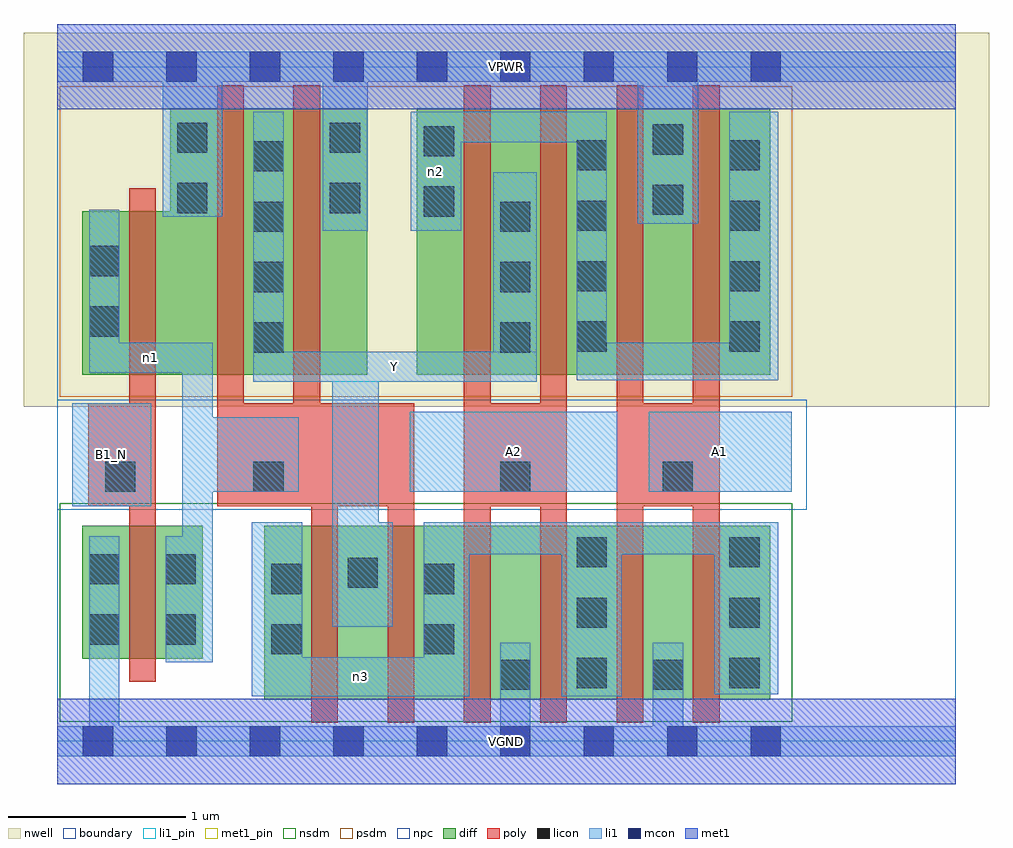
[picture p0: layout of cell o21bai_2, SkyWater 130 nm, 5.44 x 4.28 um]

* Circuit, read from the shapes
.subckt o21bai_2 A1 A2 B1_N VGND VPWR Y n1 n2 n3
XM1 n1 B1_N VGND VSUBS sky130_fd_pr__nfet_01v8 w=0.75 l=0.15
XM2 Y n1 n3 VSUBS sky130_fd_pr__nfet_01v8 w=0.98 l=0.15 m=2
XM3 VGND A2 n3 VSUBS sky130_fd_pr__nfet_01v8 w=0.98 l=0.15 m=2
XM4 VGND A1 n3 VSUBS sky130_fd_pr__nfet_01v8 w=0.98 l=0.15 m=2
XM5 VPWR B1_N n1 n4 sky130_fd_pr__pfet_01v8 w=0.92 l=0.15
XM6 Y n1 VPWR n4 sky130_fd_pr__pfet_01v8 w=1.5 l=0.15 m=2
XM7 Y A2 n2 n4 sky130_fd_pr__pfet_01v8 w=1.5 l=0.15 m=2
XM8 VPWR A1 n2 n4 sky130_fd_pr__pfet_01v8 w=1.5 l=0.15 m=2
.ends

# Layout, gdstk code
import gdstk
lib = gdstk.Library(unit=1e-6, precision=1e-09)
def R(c, l, rs):  # rectangles x0, y0, x1, y1
    for r in rs: c.add(gdstk.rectangle(r[:2], r[2:], *l))
def A(c, l, x, y, w, h, nx, ny, dx, dy):  # array of equal rectangles
    R(c, l, [(x+i*dx, y+j*dy, x+i*dx+w, y+j*dy+h) for i in range(nx) for j in range(ny)])
nwell = (64, 20)
diff = (65, 20)
poly = (66, 20)
licon = (66, 44)
li1_pin = (67, 16)
li1 = (67, 20)
mcon = (67, 44)
met1_pin = (68, 16)
met1 = (68, 20)
nsdm = (93, 44)
psdm = (94, 20)
npc = (95, 20)
boundary = (235, 4)

o21bai_2 = lib.new_cell('o21bai_2')
R(o21bai_2, nwell, [(-0.19,1.885,5.25,3.99), (0,1.885,5.06,3.99)])
R(o21bai_2, diff, [(1.165,0.235,4.015,1.215), (0.14,0.465,0.82,1.215), (0.14,2.065,1.745,2.985), (0.635,2.065,1.745,3.565), (2.025,2.065,4.015,3.565)])
A(o21bai_2, poly, 2.29, 0.105, 0.15, 3.59, 4, 1, 0.43, 0)
R(o21bai_2, poly, [(1.43,0.105,1.58,1.905), (1.86,0.105,2.01,1.905), (0.405,0.335,0.555,3.115), (0.175,1.325,0.555,1.905), (0.9,1.325,2.01,1.905), (0.9,1.325,1.05,3.695), (1.33,1.325,1.48,3.695), (2.29,1.325,2.87,1.905), (3.15,1.325,3.73,1.905)])
A(o21bai_2, licon, 2.925, 0.3, 0.17, 0.17, 1, 3, 0, 0.34)
A(o21bai_2, licon, 3.785, 0.3, 0.17, 0.17, 1, 3, 0, 0.34)
A(o21bai_2, licon, 1.105, 2.19, 0.17, 0.17, 1, 4, 0, 0.34)
A(o21bai_2, licon, 2.495, 2.19, 0.17, 0.17, 1, 3, 0, 0.34)
A(o21bai_2, licon, 2.925, 2.195, 0.17, 0.17, 1, 4, 0, 0.34)
A(o21bai_2, licon, 3.785, 2.195, 0.17, 0.17, 1, 4, 0, 0.34)
R(o21bai_2, licon, [(2.495,0.29,2.665,0.46), (3.355,0.29,3.525,0.46), (1.205,0.49,1.375,0.66), (2.065,0.49,2.235,0.66), (0.18,0.545,0.35,0.715), (0.61,0.545,0.78,0.715), (1.205,0.83,1.375,1), (2.065,0.83,2.235,1), (1.635,0.865,1.805,1.035), (0.18,0.885,0.35,1.055), (0.61,0.885,0.78,1.055), (0.27,1.405,0.44,1.575), (1.105,1.405,1.275,1.575), (2.495,1.405,2.665,1.575), (3.41,1.405,3.58,1.575), (0.18,2.28,0.35,2.45), (0.18,2.62,0.35,2.79), (2.065,2.955,2.235,3.125), (3.355,2.965,3.525,3.135), (0.675,2.975,0.845,3.145), (1.535,2.975,1.705,3.145), (2.065,3.295,2.235,3.465), (3.355,3.305,3.525,3.475), (0.675,3.315,0.845,3.485), (1.535,3.315,1.705,3.485)])
R(o21bai_2, li1_pin, [(0.085,1.325,0.53,1.905), (1.985,1.405,3.155,1.855), (3.33,1.405,4.135,1.855), (1.105,2.025,2.7,2.195)])
R(o21bai_2, li1, [(0,-0.085,5.06,0.085), (0.18,-0.085,0.35,1.155), (2.495,-0.085,2.665,0.555), (3.355,-0.085,3.525,0.555), (1.095,0.255,2.32,0.475), (1.095,0.255,1.38,1.235), (2.065,0.255,2.32,1.235), (2.84,0.255,3.18,1.235), (3.7,0.265,4.06,1.235), (0.61,0.445,0.875,1.155), (0.705,0.445,0.875,2.245), (1.55,0.645,1.81,2.195), (1.55,0.645,1.89,1.235), (2.065,1.055,4.06,1.235), (0.085,1.325,0.53,1.905), (0.705,1.405,1.36,1.825), (1.985,1.405,3.155,1.855), (3.33,1.405,4.135,1.855), (1.105,2.025,2.7,2.195), (1.105,2.025,1.275,3.545), (2.455,2.025,2.7,3.205), (2.925,2.035,4.06,2.245), (2.925,2.035,3.095,3.545), (3.785,2.035,4.06,3.545), (0.18,2.075,0.875,2.245), (0.18,2.075,0.35,2.995), (1.495,2.875,1.75,3.885), (1.99,2.875,2.275,3.545), (3.27,2.915,3.61,3.885), (0.595,2.955,0.93,3.885), (1.99,3.375,3.095,3.545), (0,3.715,5.06,3.885)])
A(o21bai_2, mcon, 0.145, -0.085, 0.17, 0.17, 9, 2, 0.47, 3.8)
R(o21bai_2, met1_pin, [(0,-0.24,5.06,0.24), (0,3.56,5.06,4.04)])
R(o21bai_2, met1, [(0,-0.24,5.06,0.24), (0,3.56,5.06,4.04)])
R(o21bai_2, nsdm, [(0.015,0.11,4.14,1.34)])
R(o21bai_2, psdm, [(0.015,1.94,4.14,3.69)])
R(o21bai_2, npc, [(0,1.305,4.22,1.925)])
R(o21bai_2, boundary, [(0,0,5.06,3.8)])
o21bai_2.add(gdstk.Label('A1', (3.732,1.63), layer=67, texttype=5))
o21bai_2.add(gdstk.Label('A2', (2.57,1.63), layer=67, texttype=5))
o21bai_2.add(gdstk.Label('B1_N', (0.307,1.615), layer=67, texttype=5))
o21bai_2.add(gdstk.Label('Y', (1.902,2.11), layer=67, texttype=5))
o21bai_2.add(gdstk.Label('n3', (1.707,0.365), layer=67, texttype=5))
o21bai_2.add(gdstk.Label('n1', (0.527,2.16), layer=67, texttype=5))
o21bai_2.add(gdstk.Label('n2', (2.132,3.21), layer=67, texttype=5))
o21bai_2.add(gdstk.Label('VPWR', (2.53,3.8), layer=68, texttype=5))
o21bai_2.add(gdstk.Label('VGND', (2.53,0), layer=68, texttype=5))
o21bai_2.add(gdstk.Label('A1', (3.732,1.63), layer=67, texttype=16))
o21bai_2.add(gdstk.Label('A2', (2.57,1.63), layer=67, texttype=16))
o21bai_2.add(gdstk.Label('B1_N', (0.307,1.615), layer=67, texttype=16))
o21bai_2.add(gdstk.Label('Y', (1.902,2.11), layer=67, texttype=16))
o21bai_2.add(gdstk.Label('VPWR', (2.53,3.8), layer=68, texttype=16))
o21bai_2.add(gdstk.Label('VGND', (2.53,0), layer=68, texttype=16))

lib.write_gds('o21bai_2.gds')
